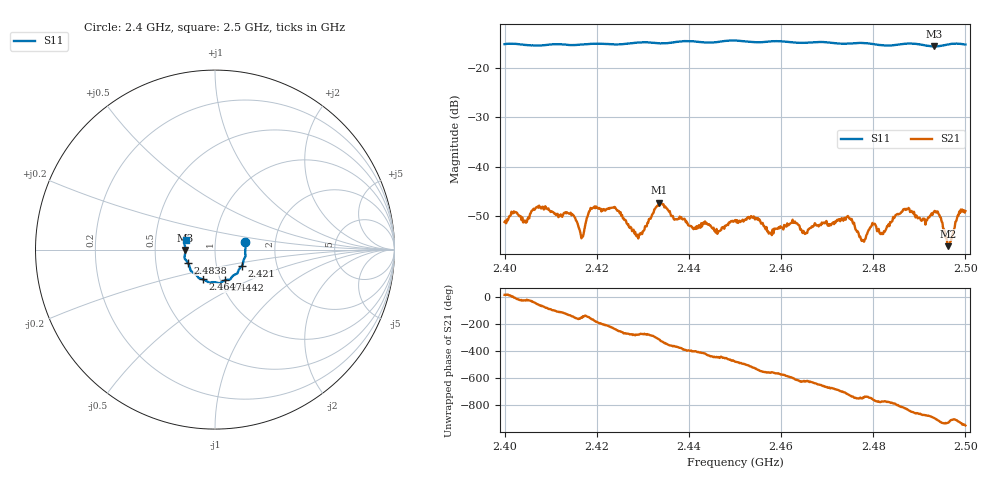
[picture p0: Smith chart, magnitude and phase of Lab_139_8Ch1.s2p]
# Hz S RI R 50
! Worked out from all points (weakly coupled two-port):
!   601 points, 2.4 GHz to 2.5 GHz, reference 50 ohm
!   highest |S21| = -47.24 dB at 2.4335 GHz (marker M1); lowest = -56.0 dB at 2.4962 GHz (marker M2)
!   lowest |S11| = -15.7 dB at 2.4932 GHz (marker M3), VSWR 1.39, Z = 35.9 - j0.119 ohm
!   |S11| at or under -10 dB: start of sweep to end of sweep
!   S12 and S22 are empty: the file has one direction only
!   S11 on the Smith chart (normalised r, x): 2.4 GHz: 1.40, +0.12; 2.421 GHz: 1.33, -0.24; 2.4442 GHz: 1.05, -0.37; 2.4647 GHz: 0.83, -0.28; 2.4838 GHz: 0.73, -0.11; 2.5 GHz: 0.71, +0.08
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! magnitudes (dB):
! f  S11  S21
! 2.4 GHz  -15.2  -51.1
! 2.4078 GHz  -15.5  -48.4
! 2.4147 GHz  -15.4  -49.5
! 2.4167 GHz  -15.3  -54.4
! 2.4187 GHz  -15.1  -48.3
! 2.421 GHz  -15.1  -49.0
! 2.4243 GHz  -15.3  -48.7
! 2.429 GHz  -14.9  -54.5
! 2.4333 GHz  -15.0  -47.9
! 2.4335 GHz  -15.0  -47.2
! 2.4442 GHz  -14.9  -51.7
! 2.45 GHz  -14.5  -50.8
! 2.4647 GHz  -14.9  -53.4
! 2.4667 GHz  -14.8  -52.0
! 2.4747 GHz  -15.1  -50.2
! 2.4778 GHz  -15.0  -54.9
! 2.4798 GHz  -15.2  -51.3
! 2.4833 GHz  -15.5  -51.6
! 2.4838 GHz  -15.5  -51.3
! 2.4932 GHz  -15.7  -49.1
! 2.4962 GHz  -15.3  -56.0
! 2.5 GHz  -15.3  -48.9
